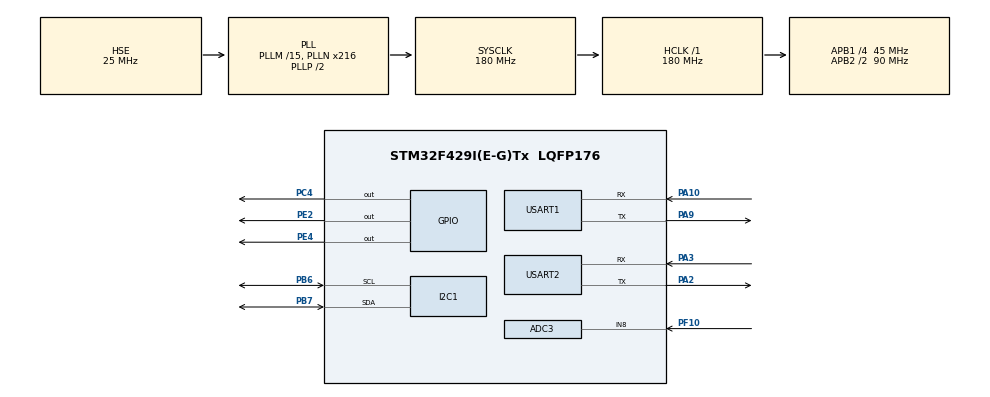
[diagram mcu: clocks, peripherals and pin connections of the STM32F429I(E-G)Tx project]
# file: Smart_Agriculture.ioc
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ADC3.Channel-0\#ChannelRegularConversion=ADC_CHANNEL_8
ADC3.NbrOfConversionFlag=1
ADC3.Rank-0\#ChannelRegularConversion=1
ADC3.SamplingTime-0\#ChannelRegularConversion=ADC_SAMPLETIME_3CYCLES
Mcu.Family=STM32F4
Mcu.Name=STM32F429I(E-G)Tx
Mcu.Package=LQFP176
NVIC.PriorityGroup=NVIC_PRIORITYGROUP_4
NVIC.TIM2_IRQn=true\:0\:0\:false\:false\:true\:true\:true\:true
NVIC.TIM7_IRQn=true\:0\:0\:false\:false\:true\:true\:true\:true
NVIC.USART1_IRQn=true\:0\:0\:false\:false\:true\:true\:true\:true
NVIC.USART2_IRQn=true\:0\:0\:false\:false\:true\:true\:true\:true
PA10.Mode=Asynchronous
PA10.Signal=USART1_RX
PA13.Mode=Serial_Wire
PA13.Signal=SYS_JTMS-SWDIO
PA14.Mode=Serial_Wire
PA14.Signal=SYS_JTCK-SWCLK
PA2.Mode=Asynchronous
PA2.Signal=USART2_TX
PA3.Mode=Asynchronous
PA3.Signal=USART2_RX
PA9.Mode=Asynchronous
PA9.Signal=USART1_TX
PB6.Mode=I2C
PB6.Signal=I2C1_SCL
PB7.Mode=I2C
PB7.Signal=I2C1_SDA
PC4.Signal=GPIO_Output
PE2.GPIO_ModeDefaultOutputPP=GPIO_MODE_OUTPUT_OD
PE2.GPIO_PuPd=GPIO_PULLUP
PE2.Signal=GPIO_Output
PE4.PinState=GPIO_PIN_SET
PE4.Signal=GPIO_Output
PF10.Mode=IN8
PF10.Signal=ADC3_IN8
PH0/OSC_IN.Mode=HSE-External-Oscillator
PH0/OSC_IN.Signal=RCC_OSC_IN
PH1/OSC_OUT.Mode=HSE-External-Oscillator
PH1/OSC_OUT.Signal=RCC_OSC_OUT
ProjectManager.HeapSize=0x200
ProjectManager.StackSize=0x400
ProjectManager.TargetToolchain=MDK-ARM V5.32
RCC.48MHZClocksFreq_Value=90000000
RCC.AHBFreq_Value=180000000
RCC.APB1CLKDivider=RCC_HCLK_DIV4
RCC.APB1Freq_Value=45000000
RCC.APB1TimFreq_Value=90000000
RCC.APB2CLKDivider=RCC_HCLK_DIV2
RCC.APB2Freq_Value=90000000
RCC.APB2TimFreq_Value=180000000
RCC.CortexFreq_Value=180000000
RCC.HCLKFreq_Value=180000000
RCC.HSE_VALUE=25000000
RCC.HSI_VALUE=16000000
RCC.LSE_VALUE=32768
RCC.PLLM=15
RCC.PLLN=216
RCC.PLLSourceVirtual=RCC_PLLSOURCE_HSE
RCC.SYSCLKFreq_VALUE=180000000
RCC.SYSCLKSource=RCC_SYSCLKSOURCE_PLLCLK
RCC.VCOOutputFreq_Value=360000000
TIM2.AutoReloadPreload=TIM_AUTORELOAD_PRELOAD_ENABLE
TIM2.Period=1000000-1
TIM2.Prescaler=179
TIM7.AutoReloadPreload=TIM_AUTORELOAD_PRELOAD_ENABLE
TIM7.Period=65535
TIM7.Prescaler=179
USART1.VirtualMode=VM_ASYNC
USART2.VirtualMode=VM_ASYNC
VP_TIM2_VS_ClockSourceINT.Mode=Internal
VP_TIM7_VS_ClockSourceINT.Mode=Enable_Timer
board=custom

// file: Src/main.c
/* USER CODE BEGIN Header */
/**
  ******************************************************************************
  * @file           : main.c
  * @brief          : Main program body
  ******************************************************************************
  * @attention
  *
  * <h2><center>&copy; Copyright (c) 2024 STMicroelectronics.
  * All rights reserved.</center></h2>
  *
  * This software component is licensed by ST under BSD 3-Clause license,
  * the "License"; You may not use this file except in compliance with the
  * License. You may obtain a copy of the License at:
  *                        opensource.org/licenses/BSD-3-Clause
  *
  ******************************************************************************
  */
/* USER CODE END Header */
#include "main.h"
#include "adc.h"
#include "i2c.h"
#include "tim.h"
#include "usart.h"
#include "gpio.h"

/* USER CODE BEGIN Includes */
#include <stdio.h>
#include "OLED.h"
#include "DS18B20.h"
#include "delay.h"
#include <string.h>
#include <stdlib.h>
#include <stdarg.h>
/* USER CODE END Includes */

/* USER CODE BEGIN PD */
#define MAX_TIMEOUT 10000
#define TIMEOUT 500 //200
#define RX_BUFFER_SIZE 512

#define B1_PRESS 1
#define B2_PRESS 2
#define B3_PRESS 3
#define B4_PRESS 4
/* USER CODE END PD */

/* USER CODE BEGIN PV */
uint8_t rxBuffer[RX_BUFFER_SIZE];
uint16_t rxIndex = 0;
uint8_t rxData;  // 用于接收单个字节

uint8_t dataReceived = 0;

unsigned char Motor_flag = 0;
unsigned char percentRecv[3] = {0};
float threshold = 2.0;

char buffer[17] = {0};
char buffer2[17] = {0};
char buffer_Temperature[17] = {0};
/* USER CODE END PV */

void SystemClock_Config(void);
/* USER CODE BEGIN PFP */
void HAL_UART_RxCpltCallback(UART_HandleTypeDef *huart)
{
  if(huart->Instance == USART1)
	{
		threshold = (100 - atoi((char*)percentRecv)) / 100.0 * 3.3;
		HAL_UART_Receive_IT(&huart1,percentRecv,2);
	}
	if(huart->Instance == USART2)
	{
		// 将接收到的字节放入接收缓冲区
		if (rxIndex < RX_BUFFER_SIZE - 1)
		{
			rxBuffer[rxIndex++] = rxData;

			// 如果接收到换行符或达到缓冲区上限，认为一个数据包完整
			if (rxData == '\n' || rxIndex == RX_BUFFER_SIZE - 1)
			{
					rxBuffer[rxIndex] = '\0';  // 添加字符串结束符
					dataReceived = 1;
					rxIndex = 0;  // 重置索引以便下一次接收
			}
		}
		else
		{
			// 防止溢出
			rxIndex = 0;
		}

		// 重新启动中断接收
		HAL_UART_Receive_IT(&huart2, &rxData, 1);
	}
}

void HAL_TIM_PeriodElapsedCallback(TIM_HandleTypeDef *htim)
{
  if(htim == &htim2)
	{
		OLED_ShowString(1,1, (char *)buffer);
		OLED_ShowString(2,1, (char *)buffer2);
		OLED_ShowString(3,1, (char *)buffer_Temperature);
		float temperature = DS18B20_Get_Temp();
		snprintf(buffer_Temperature,sizeof(buffer_Temperature),"Temp: %.2f",temperature);
	}
}

void UART_Printf(const char *format, ...)	// 串口调试打印函数
{
    uint8_t tmp[128];

    va_list argptr;
    va_start(argptr, format);

    // 使用 vsnprintf 限制输出长度
    vsnprintf((char *)tmp, sizeof(tmp), format, argptr);

    va_end(argptr);

    // 发送数据
    HAL_UART_Transmit(&huart1, tmp, strlen((char *)tmp), HAL_MAX_DELAY);
}

/* USER CODE END PFP */

/* USER CODE BEGIN 0 */
void MotorStart(float volt)
{
	// 使用静态变量存储上一次调用的时间
	static uint32_t LastStartTime = 0;
	uint32_t CurrentTime = HAL_GetTick();

	if(Motor_flag == 0)
	{
		if(CurrentTime > LastStartTime + 3000 && CurrentTime < LastStartTime + 10000)
			return;
		else if(CurrentTime > LastStartTime + 10000 && volt < threshold)
		{
			HAL_GPIO_WritePin(GPIOE, GPIO_PIN_4, GPIO_PIN_RESET);
			LastStartTime = CurrentTime;
			Motor_flag = 1;
			return;
		}
		else
			return;
	}
	else if(Motor_flag == 1)
	{
		if(CurrentTime < LastStartTime + 3000 )
			return;
		else if(CurrentTime > LastStartTime + 3000 )
		{
			HAL_GPIO_WritePin(GPIOE, GPIO_PIN_4, GPIO_PIN_SET);
			Motor_flag = 0;
			return;
		}
	}
}

unsigned char Key_scan(void)
{
    if((!HAL_GPIO_ReadPin(GPIOB,GPIO_PIN_0)||!HAL_GPIO_ReadPin(GPIOB,GPIO_PIN_1)||!HAL_GPIO_ReadPin(GPIOB,GPIO_PIN_2)||!HAL_GPIO_ReadPin(GPIOA,GPIO_PIN_0)))
    {
        if(HAL_GPIO_ReadPin(GPIOB,GPIO_PIN_0)==GPIO_PIN_RESET) return B1_PRESS;
        else if(HAL_GPIO_ReadPin(GPIOB,GPIO_PIN_1)==GPIO_PIN_RESET) return B2_PRESS;
        else if(HAL_GPIO_ReadPin(GPIOB,GPIO_PIN_2)==GPIO_PIN_RESET) return B3_PRESS;
        else if(HAL_GPIO_ReadPin(GPIOA,GPIO_PIN_0)==GPIO_PIN_RESET) return B4_PRESS;
        else return 0;
    }
    return 0;
}

void KeyProcess(void)
{
    static uint32_t KeyScan_uwTick = 0;             //控制KeyProcess的执行速度
    static uint16_t Key_KeepTime=0;                 //记录按键按下持续的时间
    static uint8_t keyvalue_Last=0;                 //记录上次按键键值
    uint8_t keyvalue_Current;
    if((uwTick -  KeyScan_uwTick)<50)	return;//减速函数    //uwTick为1ms的计数器 ,50ms扫描一次
	KeyScan_uwTick = uwTick;

    keyvalue_Current=Key_scan();
    switch(keyvalue_Current)
    {
        case B1_PRESS:
            Key_KeepTime++;
            if(Key_KeepTime==1)                 //第一次检测到按下，可认为是键按下的动作，单次按键在此处理
            {

            }
            else if(Key_KeepTime%4==0)          //每隔4*50ms=200ms持续动作，连续按键在此处理
            {

            }
            break;
        case B2_PRESS:
            Key_KeepTime++;
            if(Key_KeepTime==1)                 //第一次按下该键
            {
                ;
            }
            break;
        case B3_PRESS:
            Key_KeepTime++;
            if(Key_KeepTime==1)                 //第一次按下该键
            {
                ;
            }
            break;
        case B4_PRESS:
            Key_KeepTime++;
            if(Key_KeepTime==1)                 //第一次按下该键
            {
                ;
            }
            break;
        default:
            if(Key_KeepTime>0)      //有键按下，现在松开了
            {
                switch(keyvalue_Last)
                {
                    case B1_PRESS:                      //该键松开
                        if(Key_KeepTime<10)             // 500ms以内为短键
                        {
//                            LED_State=LED_State^0x02;
//                            LED_Control(LED_State);
                        }
                        else                            // 500ms以上为短键
                        {
//                            LED_State=LED_State^0x04;
//                            LED_Control(LED_State);
                        }
                        break;
                    case B2_PRESS:                      //该键松开
                        if(Key_KeepTime<20)             // 500ms以内为短键
                        {
                            ;
                        }
                        else                            // 500ms以上为短键
                        {
                            ;
                        }
                        break;
                }
//                sprintf((char *)Lcd_Disp_String," ButtonValue=%2d",keyvalue_Last);
//                LCD_DisplayStringLine(Line3, (uint8_t *)Lcd_Disp_String);
            }
            Key_KeepTime=0;
            break;
    }
    keyvalue_Last=keyvalue_Current;
}

/* USER CODE END 0 */

int main(void)
{

  /* MCU Configuration--------------------------------------------------------*/

  /* Reset of all peripherals, Initializes the Flash interface and the Systick. */
  HAL_Init();

  /* Configure the system clock */
  SystemClock_Config();

  /* Initialize all configured peripherals */
  MX_GPIO_Init();
  MX_USART1_UART_Init();
  MX_ADC3_Init();
  MX_USART2_UART_Init();
  MX_TIM2_Init();
  MX_I2C1_Init();
  MX_TIM7_Init();
  /* USER CODE BEGIN 2 */
	/* 测试WiFi模块 */
	// 1. 设置ESP8266为STA + AP 模式

  /* USER CODE END 2 */

  /* Infinite loop */
  /* USER CODE BEGIN WHILE */
	HAL_UART_Receive_IT(&huart1,percentRecv,2);
	HAL_TIM_Base_Start(&htim7);
	DS18B20_Init();
	OLED_Init();
	HAL_TIM_Base_Start_IT(&htim2);
  while (1)
  {
		KeyProcess();
		//启动ADC常规序列
		HAL_ADC_Start(&hadc3);
		//轮询等待常规序列转换完成
		HAL_ADC_PollForConversion(&hadc3,HAL_MAX_DELAY);

		//获取常规序列转换结果
		uint32_t result = HAL_ADC_GetValue(&hadc3);
		//result 范围是0 - 4096 正好对应电压是0-3.3V
		float volt = result/4096.0 * 3.3;
		int percent =100 -  volt/3.3 * 100.0;

		//char buffer[17] = {0};
		snprintf(buffer,sizeof(buffer),"result:%.2fV ",volt);
		//OLED_ShowString(0,0, (uint8_t *)buffer, 15);
		//char buffer2[17] = {0};
		snprintf(buffer2,sizeof(buffer2),"       %d%%     \n",percent);
		//OLED_ShowString(0,10, (uint8_t *)buffer2, 15);
		HAL_UART_Transmit(&huart1,(uint8_t *)buffer,sizeof(buffer),1000);
		char buffer3[17] = {0};
		snprintf(buffer3,sizeof(buffer3),"threshold:%.2fV ",threshold);
		HAL_UART_Transmit(&huart1,(uint8_t *)buffer3,sizeof(buffer3),1000);
		HAL_UART_Transmit(&huart1,(uint8_t *)buffer2,sizeof(buffer2),1000);
		HAL_UART_Transmit(&huart1,(uint8_t *)buffer_Temperature,sizeof(buffer_Temperature),1000);
		MotorStart(volt);

    /* USER CODE END WHILE */

    /* USER CODE BEGIN 3 */

		HAL_Delay(1000);
		if (dataReceived)
		{
			dataReceived = 0;
			UART_Printf((char *)rxBuffer);
		}
  }
  /* USER CODE END 3 */
}

void SystemClock_Config(void)
{
  RCC_OscInitTypeDef RCC_OscInitStruct = {0};
  RCC_ClkInitTypeDef RCC_ClkInitStruct = {0};

  /** Configure the main internal regulator output voltage
  */
  __HAL_RCC_PWR_CLK_ENABLE();
  __HAL_PWR_VOLTAGESCALING_CONFIG(PWR_REGULATOR_VOLTAGE_SCALE1);

  /** Initializes the RCC Oscillators according to the specified parameters
  * in the RCC_OscInitTypeDef structure.
  */
  RCC_OscInitStruct.OscillatorType = RCC_OSCILLATORTYPE_HSE;
  RCC_OscInitStruct.HSEState = RCC_HSE_ON;
  RCC_OscInitStruct.PLL.PLLState = RCC_PLL_ON;
  RCC_OscInitStruct.PLL.PLLSource = RCC_PLLSOURCE_HSE;
  RCC_OscInitStruct.PLL.PLLM = 15;
  RCC_OscInitStruct.PLL.PLLN = 216;
  RCC_OscInitStruct.PLL.PLLP = RCC_PLLP_DIV2;
  RCC_OscInitStruct.PLL.PLLQ = 4;
  if (HAL_RCC_OscConfig(&RCC_OscInitStruct) != HAL_OK)
  {
    Error_Handler();
  }

  /** Activate the Over-Drive mode
  */
  if (HAL_PWREx_EnableOverDrive() != HAL_OK)
  {
    Error_Handler();
  }

  /** Initializes the CPU, AHB and APB buses clocks
  */
  RCC_ClkInitStruct.ClockType = RCC_CLOCKTYPE_HCLK|RCC_CLOCKTYPE_SYSCLK
                              |RCC_CLOCKTYPE_PCLK1|RCC_CLOCKTYPE_PCLK2;
  RCC_ClkInitStruct.SYSCLKSource = RCC_SYSCLKSOURCE_PLLCLK;
  RCC_ClkInitStruct.AHBCLKDivider = RCC_SYSCLK_DIV1;
  RCC_ClkInitStruct.APB1CLKDivider = RCC_HCLK_DIV4;
  RCC_ClkInitStruct.APB2CLKDivider = RCC_HCLK_DIV2;

  if (HAL_RCC_ClockConfig(&RCC_ClkInitStruct, FLASH_LATENCY_5) != HAL_OK)
  {
    Error_Handler();
  }
}

void Error_Handler(void)
{
}
